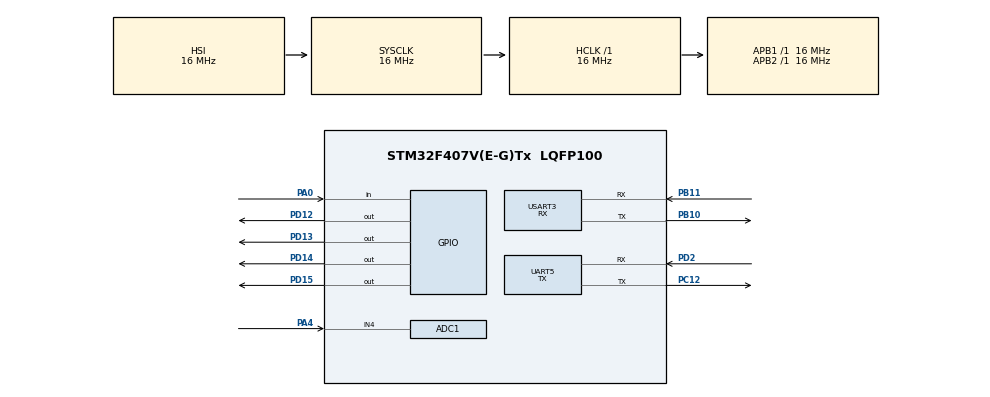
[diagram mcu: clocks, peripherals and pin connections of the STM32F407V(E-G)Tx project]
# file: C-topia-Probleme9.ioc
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ADC1.Channel-3\#ChannelRegularConversion=ADC_CHANNEL_4
ADC1.NbrOfConversionFlag=1
ADC1.Rank-3\#ChannelRegularConversion=1
ADC1.SamplingTime-3\#ChannelRegularConversion=ADC_SAMPLETIME_3CYCLES
ADC1.master=1
Mcu.Family=STM32F4
Mcu.Name=STM32F407V(E-G)Tx
Mcu.Package=LQFP100
NVIC.PriorityGroup=NVIC_PRIORITYGROUP_4
PA0-WKUP.Signal=GPIO_Input
PA4.Signal=ADCx_IN4
PB10.Mode=Asynchronous
PB10.Signal=USART3_TX
PB11.Mode=Asynchronous
PB11.Signal=USART3_RX
PC12.GPIO_PuPd=GPIO_PULLDOWN
PC12.Mode=Asynchronous
PC12.Signal=UART5_TX
PD12.Signal=GPIO_Output
PD13.Signal=GPIO_Output
PD14.Signal=GPIO_Output
PD15.Signal=GPIO_Output
PD2.GPIO_PuPd=GPIO_PULLDOWN
PD2.Mode=Asynchronous
PD2.Signal=UART5_RX
ProjectManager.HeapSize=0x200
ProjectManager.StackSize=0x400
ProjectManager.TargetToolchain=STM32CubeIDE
RCC.AHBFreq_Value=16000000
RCC.APB1Freq_Value=16000000
RCC.APB2Freq_Value=16000000
RCC.CortexFreq_Value=16000000
RCC.HSE_VALUE=25000000
RCC.HSI_VALUE=16000000
RCC.LSE_VALUE=32768
RCC.SYSCLKFreq_VALUE=16000000
RCC.VCOOutputFreq_Value=192000000
SH.ADCx_IN4.0=ADC1_IN4,IN4
UART5.Mode=MODE_TX
UART5.VirtualMode=Asynchronous
USART3.Mode=MODE_RX
USART3.VirtualMode=VM_ASYNC
board=custom

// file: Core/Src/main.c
/* USER CODE BEGIN Header */
/**
  ******************************************************************************
  * @file           : main.c
  * @brief          : Main program body
  ******************************************************************************
  * @attention
  *
  * Copyright (c) 2025 STMicroelectronics.
  * All rights reserved.
  *
  * This software is licensed under terms that can be found in the LICENSE file
  * in the root directory of this software component.
  * If no LICENSE file comes with this software, it is provided AS-IS.
  *
  ******************************************************************************
  */
/* USER CODE END Header */
#include "main.h"

ADC_HandleTypeDef hadc1;

UART_HandleTypeDef huart5;
UART_HandleTypeDef huart3;

void SystemClock_Config(void);
static void MX_GPIO_Init(void);
static void MX_ADC1_Init(void);
static void MX_UART5_Init(void);
static void MX_USART3_UART_Init(void);

int main(void)
{

  /* MCU Configuration--------------------------------------------------------*/

  /* Reset of all peripherals, Initializes the Flash interface and the Systick. */
  HAL_Init();

  /* Configure the system clock */
  SystemClock_Config();

  /* Initialize all configured peripherals */
  MX_GPIO_Init();
  MX_ADC1_Init();
  MX_UART5_Init();
  MX_USART3_UART_Init();
  /* USER CODE BEGIN 2 */
#define SEUIL 100
uint8_t buffer[1]={1};
uint8_t buffer2[1];
  /* USER CODE END 2 */

  /* Infinite loop */
  while (1)
    {

    /* USER CODE BEGIN 3 */

  	  if(HAL_GPIO_ReadPin(GPIOA, GPIO_PIN_0)==GPIO_PIN_SET){
  		//reset tout les led
  		HAL_GPIO_WritePin(GPIOD, GPIO_PIN_12, GPIO_PIN_RESET);
  		HAL_GPIO_WritePin(GPIOD, GPIO_PIN_13, GPIO_PIN_RESET);
  		HAL_GPIO_WritePin(GPIOD, GPIO_PIN_14, GPIO_PIN_RESET);
  		HAL_GPIO_WritePin(GPIOD, GPIO_PIN_15, GPIO_PIN_RESET);
  		//lancer la convertion via ADC
  		  if(HAL_ADC_Start(&hadc1)==HAL_OK){
  			  //attendre la fin de convertion
  			if (HAL_ADC_PollForConversion(&hadc1, 10) == HAL_OK){
  				//allumer LED verte
  			  HAL_GPIO_WritePin(GPIOD, GPIO_PIN_12, GPIO_PIN_SET);
  			  //affecter la valeur de convertion au buffer
  			  buffer[0]=HAL_ADC_GetValue(&hadc1);
  			  //envoyer la valeur de buffer via uart5
  			  if(HAL_UART_Transmit(&huart5, buffer , 1, 1.145)!=HAL_OK){
  				  //si la transmition a echoue on allume led rouge et eteindre led vert
  				HAL_GPIO_WritePin(GPIOD, GPIO_PIN_12, GPIO_PIN_RESET);
  				  HAL_GPIO_WritePin(GPIOD, GPIO_PIN_14, GPIO_PIN_SET);}
  			  else{
  				  //recevoire avec uart3 la valeur envoye precedament et la sauvgarder dans buffer2
  				if(HAL_UART_Receive(&huart3, buffer2 , 1, 10)!=HAL_OK){
  					//si la reception a echoue on allume led rouge et eteindre led vert
  					HAL_GPIO_WritePin(GPIOD, GPIO_PIN_12, GPIO_PIN_RESET);
  					HAL_GPIO_WritePin(GPIOD, GPIO_PIN_14, GPIO_PIN_SET);}
  				else{
  					//reception reussit donc on eteind led verte
  					HAL_GPIO_WritePin(GPIOD, GPIO_PIN_12, GPIO_PIN_RESET);
  					//verifier si la valeur obtenue est supperieure a seuil
  					if (buffer2[0]>SEUIL){HAL_GPIO_WritePin(GPIOD, GPIO_PIN_13, GPIO_PIN_SET);}

  				}
  				}
  			HAL_Delay(5000);
  		  }
  		  }
  	  }
  	  else{
  		// mode d'attente: clignotement du led bleu
  		HAL_GPIO_WritePin(GPIOD, GPIO_PIN_12, GPIO_PIN_RESET);
  		HAL_GPIO_WritePin(GPIOD, GPIO_PIN_13, GPIO_PIN_RESET);
  		HAL_GPIO_WritePin(GPIOD, GPIO_PIN_14, GPIO_PIN_RESET);
  		HAL_GPIO_TogglePin(GPIOD, GPIO_PIN_15);
  		HAL_Delay(500);
  	  }
    }
  /* USER CODE END 3 */
}

void SystemClock_Config(void)
{
  RCC_OscInitTypeDef RCC_OscInitStruct = {0};
  RCC_ClkInitTypeDef RCC_ClkInitStruct = {0};

  /** Configure the main internal regulator output voltage
  */
  __HAL_RCC_PWR_CLK_ENABLE();
  __HAL_PWR_VOLTAGESCALING_CONFIG(PWR_REGULATOR_VOLTAGE_SCALE1);

  /** Initializes the RCC Oscillators according to the specified parameters
  * in the RCC_OscInitTypeDef structure.
  */
  RCC_OscInitStruct.OscillatorType = RCC_OSCILLATORTYPE_HSI;
  RCC_OscInitStruct.HSIState = RCC_HSI_ON;
  RCC_OscInitStruct.HSICalibrationValue = RCC_HSICALIBRATION_DEFAULT;
  RCC_OscInitStruct.PLL.PLLState = RCC_PLL_NONE;
  if (HAL_RCC_OscConfig(&RCC_OscInitStruct) != HAL_OK)
  {
    Error_Handler();
  }

  /** Initializes the CPU, AHB and APB buses clocks
  */
  RCC_ClkInitStruct.ClockType = RCC_CLOCKTYPE_HCLK|RCC_CLOCKTYPE_SYSCLK
                              |RCC_CLOCKTYPE_PCLK1|RCC_CLOCKTYPE_PCLK2;
  RCC_ClkInitStruct.SYSCLKSource = RCC_SYSCLKSOURCE_HSI;
  RCC_ClkInitStruct.AHBCLKDivider = RCC_SYSCLK_DIV1;
  RCC_ClkInitStruct.APB1CLKDivider = RCC_HCLK_DIV1;
  RCC_ClkInitStruct.APB2CLKDivider = RCC_HCLK_DIV1;

  if (HAL_RCC_ClockConfig(&RCC_ClkInitStruct, FLASH_LATENCY_0) != HAL_OK)
  {
    Error_Handler();
  }
}

static void MX_ADC1_Init(void)
{

  ADC_ChannelConfTypeDef sConfig = {0};

  /** Configure the global features of the ADC (Clock, Resolution, Data Alignment and number of conversion)
  */
  hadc1.Instance = ADC1;
  hadc1.Init.ClockPrescaler = ADC_CLOCK_SYNC_PCLK_DIV2;
  hadc1.Init.Resolution = ADC_RESOLUTION_12B;
  hadc1.Init.ScanConvMode = DISABLE;
  hadc1.Init.ContinuousConvMode = DISABLE;
  hadc1.Init.DiscontinuousConvMode = DISABLE;
  hadc1.Init.ExternalTrigConvEdge = ADC_EXTERNALTRIGCONVEDGE_NONE;
  hadc1.Init.ExternalTrigConv = ADC_SOFTWARE_START;
  hadc1.Init.DataAlign = ADC_DATAALIGN_RIGHT;
  hadc1.Init.NbrOfConversion = 1;
  hadc1.Init.DMAContinuousRequests = DISABLE;
  hadc1.Init.EOCSelection = ADC_EOC_SINGLE_CONV;
  if (HAL_ADC_Init(&hadc1) != HAL_OK)
  {
    Error_Handler();
  }

  /** Configure for the selected ADC regular channel its corresponding rank in the sequencer and its sample time.
  */
  sConfig.Channel = ADC_CHANNEL_4;
  sConfig.Rank = 1;
  sConfig.SamplingTime = ADC_SAMPLETIME_3CYCLES;
  if (HAL_ADC_ConfigChannel(&hadc1, &sConfig) != HAL_OK)
  {
    Error_Handler();
  }

}

static void MX_UART5_Init(void)
{

  huart5.Instance = UART5;
  huart5.Init.BaudRate = 115200;
  huart5.Init.WordLength = UART_WORDLENGTH_8B;
  huart5.Init.StopBits = UART_STOPBITS_1;
  huart5.Init.Parity = UART_PARITY_NONE;
  huart5.Init.Mode = UART_MODE_TX;
  huart5.Init.HwFlowCtl = UART_HWCONTROL_NONE;
  huart5.Init.OverSampling = UART_OVERSAMPLING_16;
  if (HAL_UART_Init(&huart5) != HAL_OK)
  {
    Error_Handler();
  }

}

static void MX_USART3_UART_Init(void)
{

  huart3.Instance = USART3;
  huart3.Init.BaudRate = 115200;
  huart3.Init.WordLength = UART_WORDLENGTH_8B;
  huart3.Init.StopBits = UART_STOPBITS_1;
  huart3.Init.Parity = UART_PARITY_NONE;
  huart3.Init.Mode = UART_MODE_RX;
  huart3.Init.HwFlowCtl = UART_HWCONTROL_NONE;
  huart3.Init.OverSampling = UART_OVERSAMPLING_16;
  if (HAL_UART_Init(&huart3) != HAL_OK)
  {
    Error_Handler();
  }

}

static void MX_GPIO_Init(void)
{
  GPIO_InitTypeDef GPIO_InitStruct = {0};

  /* GPIO Ports Clock Enable */
  __HAL_RCC_GPIOA_CLK_ENABLE();
  __HAL_RCC_GPIOB_CLK_ENABLE();
  __HAL_RCC_GPIOD_CLK_ENABLE();
  __HAL_RCC_GPIOC_CLK_ENABLE();

  /*Configure GPIO pin Output Level */
  HAL_GPIO_WritePin(GPIOD, GPIO_PIN_12|GPIO_PIN_13|GPIO_PIN_14|GPIO_PIN_15, GPIO_PIN_RESET);

  /*Configure GPIO pin : PA0 */
  GPIO_InitStruct.Pin = GPIO_PIN_0;
  GPIO_InitStruct.Mode = GPIO_MODE_INPUT;
  GPIO_InitStruct.Pull = GPIO_NOPULL;
  HAL_GPIO_Init(GPIOA, &GPIO_InitStruct);

  /*Configure GPIO pins : PD12 PD13 PD14 PD15 */
  GPIO_InitStruct.Pin = GPIO_PIN_12|GPIO_PIN_13|GPIO_PIN_14|GPIO_PIN_15;
  GPIO_InitStruct.Mode = GPIO_MODE_OUTPUT_PP;
  GPIO_InitStruct.Pull = GPIO_NOPULL;
  GPIO_InitStruct.Speed = GPIO_SPEED_FREQ_LOW;
  HAL_GPIO_Init(GPIOD, &GPIO_InitStruct);

}

void Error_Handler(void)
{
  __disable_irq();
  while (1)
  {
  }
}
